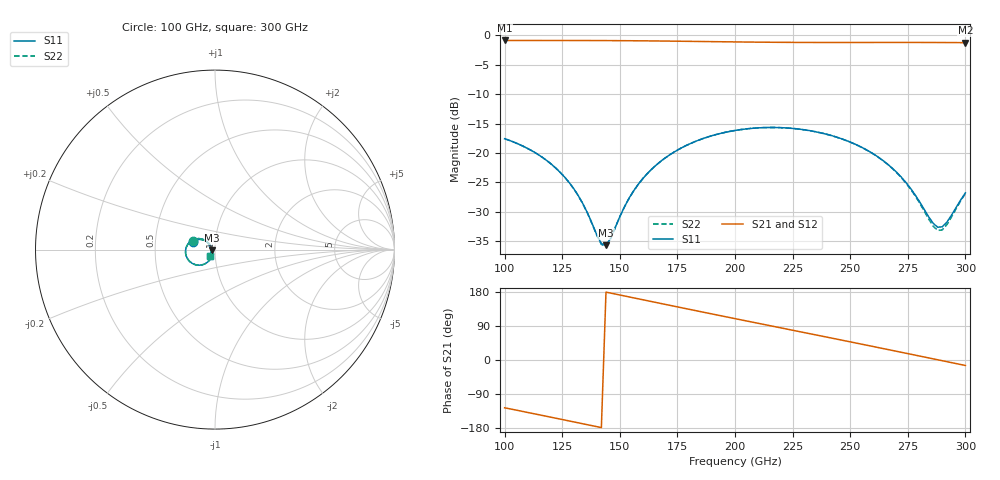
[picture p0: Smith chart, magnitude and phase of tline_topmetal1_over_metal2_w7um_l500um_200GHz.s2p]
#  GHZ S DB R 50
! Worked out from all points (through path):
!   101 points, 100 GHz to 300 GHz, reference 50 ohm
!   highest |S21| = -0.85 dB at 100 GHz (marker M1); lowest = -1.2 dB at 300 GHz (marker M2)
!   group delay of S21, straight-line fit = 3.44 ps
!   lowest |S11| = -35.7 dB at 144 GHz (marker M3), VSWR 1.03, Z = 48.4 - j0.448 ohm
!   |S11| at or under -10 dB: start of sweep to end of sweep
!   |S22| runs from -35.8 to -15.7 dB; largest |S21 - S12| = 1e-13
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100  -17.56 160.1  -0.85 -126.1  -0.85 -126.1  -17.56 160.0
110  -19.22 149.1  -0.86 -138.4  -0.86 -138.4  -19.22 149.0
120  -21.80 139.6  -0.86 -150.8  -0.86 -150.8  -21.81 139.5
128  -25.00 134.9  -0.86 -160.8  -0.86 -160.8  -25.01 134.7
134  -28.63 136.7  -0.86 -168.3  -0.86 -168.3  -28.67 136.4
142  -35.41 174.1  -0.87 -178.4  -0.87 -178.4  -35.55 173.9
144  -35.69 -163.6  -0.87 179.1  -0.87 179.1  -35.84 -163.4
152  -29.15 -119.4  -0.89 169.0  -0.89 169.0  -29.18 -118.9
156  -26.43 -116.5  -0.90 164.0  -0.90 164.0  -26.44 -116.1
162  -23.46 -117.9  -0.92 156.5  -0.92 156.5  -23.47 -117.6
168  -21.33 -122.1  -0.95 148.9  -0.95 148.9  -21.33 -121.9
182  -18.15 -135.6  -1.01 131.4  -1.01 131.4  -18.15 -135.4
200  -16.16 -155.0  -1.10 109.2  -1.10 109.2  -16.16 -155.0
216  -15.65 -172.6  -1.16 89.6  -1.16 89.6  -15.65 -172.6
234  -16.30 167.9  -1.19 67.5  -1.19 67.5  -16.31 167.8
252  -18.46 149.7  -1.20 45.4  -1.20 45.4  -18.48 149.5
268  -22.48 137.8  -1.19 25.6  -1.19 25.6  -22.53 137.2
276  -25.91 137.7  -1.19 15.6  -1.19 15.6  -26.03 136.7
286  -31.95 165.4  -1.20 3.1  -1.20 3.1  -32.43 164.6
288  -32.62 179.3  -1.20 0.6  -1.20 0.6  -33.17 179.4
292  -31.74 -152.3  -1.21 -4.5  -1.21 -4.5  -32.17 -150.2
300  -26.77 -128.3  -1.22 -14.5  -1.22 -14.5  -26.88 -126.3
